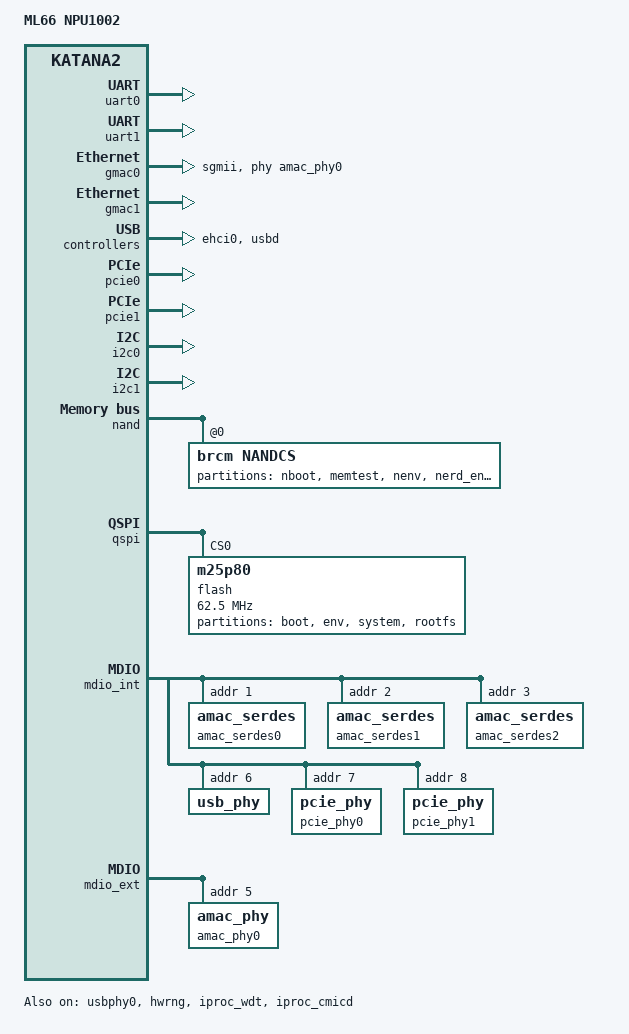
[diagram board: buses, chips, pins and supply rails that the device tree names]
/*
 *  BSD LICENSE
 *
 *  Copyright(c) 2016 Broadcom Corporation.  All rights reserved.
 *
 *  Redistribution and use in source and binary forms, with or without
 *  modification, are permitted provided that the following conditions
 *  are met:
 *
 *    * Redistributions of source code must retain the above copyright
 *      notice, this list of conditions and the following disclaimer.
 *    * Redistributions in binary form must reproduce the above copyright
 *      notice, this list of conditions and the following disclaimer in
 *      the documentation and/or other materials provided with the
 *      distribution.
 *    * Neither the name of Broadcom Corporation nor the names of its
 *      contributors may be used to endorse or promote products derived
 *      from this software without specific prior written permission.
 *
 *  THIS SOFTWARE IS PROVIDED BY THE COPYRIGHT HOLDERS AND CONTRIBUTORS
 *  "AS IS" AND ANY EXPRESS OR IMPLIED WARRANTIES, INCLUDING, BUT NOT
 *  LIMITED TO, THE IMPLIED WARRANTIES OF MERCHANTABILITY AND FITNESS FOR
 *  A PARTICULAR PURPOSE ARE DISCLAIMED. IN NO EVENT SHALL THE COPYRIGHT
 *  OWNER OR CONTRIBUTORS BE LIABLE FOR ANY DIRECT, INDIRECT, INCIDENTAL,
 *  SPECIAL, EXEMPLARY, OR CONSEQUENTIAL DAMAGES (INCLUDING, BUT NOT
 *  LIMITED TO, PROCUREMENT OF SUBSTITUTE GOODS OR SERVICES; LOSS OF USE,
 *  DATA, OR PROFITS; OR BUSINESS INTERRUPTION) HOWEVER CAUSED AND ON ANY
 *  THEORY OF LIABILITY, WHETHER IN CONTRACT, STRICT LIABILITY, OR TORT
 *  (INCLUDING NEGLIGENCE OR OTHERWISE) ARISING IN ANY WAY OUT OF THE USE
 *  OF THIS SOFTWARE, EVEN IF ADVISED OF THE POSSIBILITY OF SUCH DAMAGE.
 */

/dts-v1/;

#include "bcm-katana2.dtsi"

/ {
	model = "ML66 NPU1002";
	compatible = "ericsson,npu1002", "brcm,katana2";

	aliases {
		serial0 = &uart0;
		serial1 = &uart1;
		ethernet0 = &gmac0;
		ethernet1 = &gmac1;
		sdk-serdes-lane2 = &amac_serdes2;
	};

	chosen {
		bootargs = "ttyS1,115200n8 noinitrd root=/dev/ram maxcpus=2 mem=496M ip=169.254.1.2:::255.255.255.0::eth1:off";
	};
};

&uart0 {
	status = "okay";
};

&uart1 {
	status = "okay";
	clock-frequency = <123750000>;
};

&gmac0 {
	status = "okay";
	phy-handle = <&amac_phy0>;
	phy-mode = "sgmii"; /* "gmii-id", "gmii-rxid", "sgmii" */
	serdes-handle = <&amac_serdes0>;
};

&gmac1 {
	status = "okay";
	serdes-handle = <&amac_serdes1>;
};

&usbphy0 {
	status = "okay";
	mdio-phy-handle = <&usb_phy>;
};

&ehci0 {
	status = "okay";
};

&usbd {
	status = "okay";
};

&gpio_cca {
	status = "okay";
};

&pcie0 {
	status = "okay";
	mdio-phy-handle = <&pcie_phy0>;
};

&pcie1 {
	status = "okay";
	mdio-phy-handle = <&pcie_phy1>;
};

&i2c0 {
	status = "okay";
};

&i2c1 {
	status = "okay";
};

&nand {
	status = "okay";
	nandcs@1 {
		compatible = "brcm,nandcs";
		reg = <0>;
		nand-on-flash-bbt;
		/*nand-bus-width = <8>;*/
		nand-ecc-strength = <4>;
		nand-ecc-step-size = <512>;
		brcm,nand-oob-sector-size = <16>;

		partitions {
			compatible = "fixed-partitions";
			#address-cells = <1>;
			#size-cells = <1>;

			partition@0 {
				label = "nboot";
				reg = <0x0 0x100000>;
				/*read-only;*/
			};
			partition@1 {
				label = "memtest";
				reg = <0x100000 0x100000>;
				/*read-only;*/
			};
			partition@2 {
				label = "nenv";
				reg = <0x200000 0x100000>;
			};
			partition@3 {
				label = "nerd_env";
				reg = <0x300000 0x100000>;
			};
			partition@4 {
				label = "iproc_ram_tuning";
				reg = <0x400000 0x100000>;
			};
			partition@5 {
				label = "nandtest";
				reg = <0x500000 0x100000>;
			};
			partition@6 {
				label = "pbist_linux";
				reg = <0x600000 0x600000>;
			};
			partition@7 {
				label = "pbist_fs";
				reg = <0xc00000 0x4a00000>;
			};
			partition@8 {
				label = "scratch";
				reg = <0x5600000 0x1AA00000>;
			};
		};
	};
};

&qspi {
	status = "okay";
		flash: m25p80@0 {
		#address-cells = <1>;
		#size-cells = <1>;
		compatible = "m25p80";
		m25p,fast-read = <1>;
		spi-max-frequency = <62500000>;
		reg = <0x0>;
		partition@0 {
			label = "boot";
			reg = <0x00000000 0x000c0000>;
			/*read-only;*/
		};
		partition@1 {
			label = "env";
			reg = <0x000c0000 0x00040000>;
		};
		partition@2 {
			label = "system";
			reg = <0x00100000 0x00f00000>;
		};
		partition@3 {
			label = "rootfs";
			reg = <0x01000000 0x01000000>;
		};
	};
};

&mdio_int {
	status = "okay";
	/* 3 AMAC serdes, amac_serdes2 is for switch front port */
	amac_serdes0: amac_serdes@0 {
		reg = <1>;
	};
	amac_serdes1: amac_serdes@1 {
		reg = <2>;
	};
	amac_serdes2: amac_serdes@2 {
		reg = <3>;
	};
	usb_phy: usb_phy@0 {
		reg = <6>;
	};
	pcie_phy0: pcie_phy@0 {
		reg = <7>;
	};
	pcie_phy1: pcie_phy@1 {
		reg = <8>;
	};
};

&mdio_ext {
	status = "okay";
	amac_phy0: amac_phy@0 {
		reg = <5>;
	};
};

&hwrng {
	status = "okay";
};

&iproc_wdt {
	status = "okay";
};

&dmac0 {
	status = "okay";
};

&iproc_cmicd {
	status = "okay";
};
